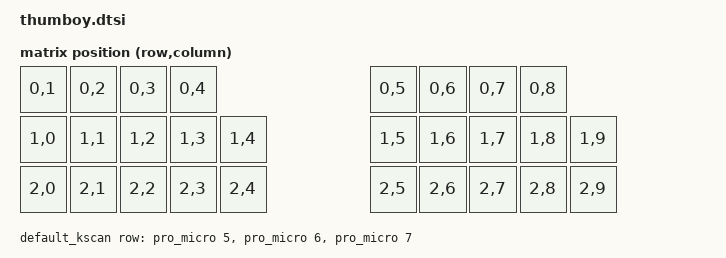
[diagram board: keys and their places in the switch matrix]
#include <dt-bindings/zmk/matrix_transform.h>

/ {
    chosen {
        zmk,kscan = &default_kscan;
        zmk,matrix_transform = &default_transform;
    };

    default_kscan: kscan0 {
        compatible = "zmk,kscan-gpio-matrix";
        label = "default_kscan";
        diode-direction = "col2row";

        row-gpios = <&pro_micro 5 (GPIO_ACTIVE_HIGH | GPIO_PULL_DOWN)>,
                          <&pro_micro 6 (GPIO_ACTIVE_HIGH | GPIO_PULL_DOWN)>,
                          <&pro_micro 7 (GPIO_ACTIVE_HIGH | GPIO_PULL_DOWN)>;
    };

    default_transform: matrix_transform {
        compatible = "zmk,matrix-transform";
        rows = <3>;
        columns = <16>;

        map = <
            RC(0,1) RC(0,2) RC(0,3) RC(0,4)                                    RC(0,5) RC(0,6) RC(0,7) RC(0,8)

            RC(1,0) RC(1,1) RC(1,2) RC(1,3) RC(1,4)                            RC(1,5) RC(1,6) RC(1,7) RC(1,8) RC(1,9)
            
            RC(2,0) RC(2,1) RC(2,2) RC(2,3) RC(2,4)                            RC(2,5) RC(2,6) RC(2,7) RC(2,8) RC(2,9)
        >;
    };
};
